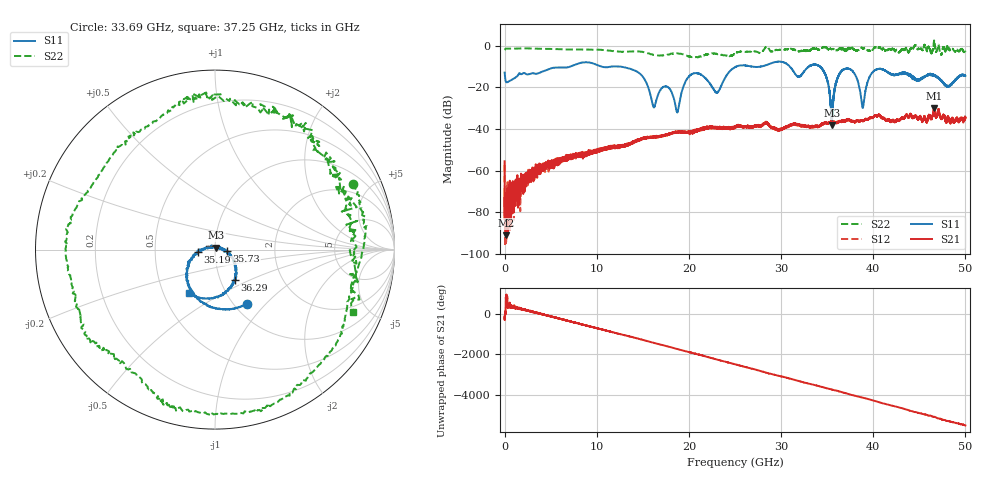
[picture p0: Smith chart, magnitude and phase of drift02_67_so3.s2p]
!Created with skrf (http://scikit-rf.org).
# Hz S RI R 50.0
!freq ReS11 ImS11 ReS21 ImS21 ReS12 ImS12 ReS22 ImS22
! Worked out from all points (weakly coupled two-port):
!   10001 points, 300 kHz to 50 GHz, reference 50 ohm
!   highest |S21| = -29.96 dB at 46.6 GHz (marker M1); lowest = -91.0 dB at 190.3 MHz (marker M2)
!   lowest |S11| = -38.2 dB at 35.53 GHz (marker M3), VSWR 1.02, Z = 50.7 + j1.04 ohm
!   |S11| at or under -10 dB: start of sweep to 7.178 GHz; 12.39 GHz to 25.18 GHz (12.79 GHz wide, 68.1 % of centre); 34.22 GHz to end of sweep (the widest 3 of 15)
!   |S22| runs from -5.7 to 2.5 dB; largest |S21 - S12| = 0.0032
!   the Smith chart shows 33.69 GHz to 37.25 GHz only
!   S11 on the Smith chart (normalised r, x): 33.69 GHz: 1.15, -0.79; 35.19 GHz: 0.83, -0.02; 35.73 GHz: 1.14, -0.02; 36.29 GHz: 1.17, -0.42; 37.25 GHz: 0.67, -0.35
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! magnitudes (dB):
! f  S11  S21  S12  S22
! 300 kHz  -13.0  -55.5  -57.2  -2.1
! 190.3 MHz  -17.6  -91.0  -75.1  -1.4
! 8.335 GHz  -8.2  -52.9  -52.2  -1.9
! 14.03 GHz  -11.8  -46.1  -46.6  -2.8
! 16.67 GHz  -23.4  -43.7  -43.9  -4.7
! 17.72 GHz  -19.9  -42.6  -42.9  -4.3
! 18.74 GHz  -32.0  -41.5  -41.5  -3.7
! 20.22 GHz  -14.0  -41.3  -41.2  -5.4
! 23.04 GHz  -22.6  -39.4  -39.3  -4.1
! 25 GHz  -10.4  -39.0  -39.3  -3.9
! 33.34 GHz  -9.3  -38.6  -38.7  -1.6
! 33.69 GHz  -9.1  -38.8  -38.6  -1.4
! 35.19 GHz  -20.4  -37.2  -37.0  -1.5
! 35.53 GHz  -38.2  -36.7  -36.6  -1.6
! 35.73 GHz  -23.5  -37.1  -36.8  -1.7
! 36.29 GHz  -13.8  -36.4  -36.5  -1.5
! 37.25 GHz  -11.0  -35.6  -35.5  -1.5
! 38.86 GHz  -29.9  -36.3  -36.0  -1.3
! 39.93 GHz  -12.8  -34.3  -34.7  -2.0
! 41.67 GHz  -13.0  -35.3  -35.7  -1.9
! 46.6 GHz  -14.5  -30.0  -30.6  1.9
! 50 GHz  -14.5  -34.5  -34.1  -2.7
